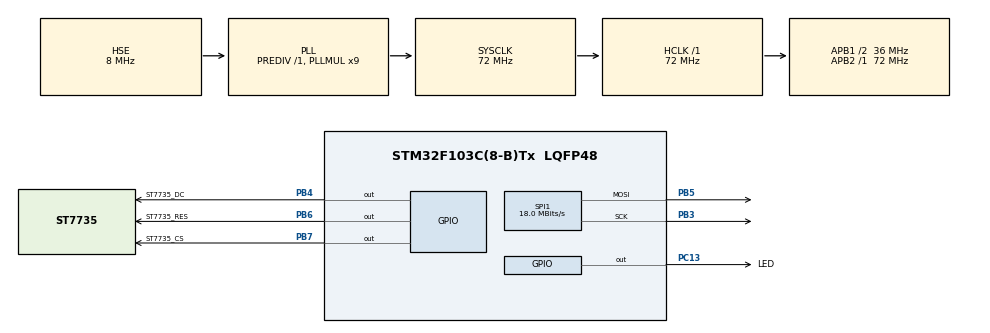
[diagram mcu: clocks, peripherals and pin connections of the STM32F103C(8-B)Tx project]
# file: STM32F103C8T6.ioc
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Mcu.Family=STM32F1
Mcu.Name=STM32F103C(8-B)Tx
Mcu.Package=LQFP48
NVIC.PriorityGroup=NVIC_PRIORITYGROUP_4
NVIC.TIM3_IRQn=true\:0\:0\:false\:false\:true\:true\:true\:true
PA13.Mode=Serial_Wire
PA13.Signal=SYS_JTMS-SWDIO
PA14.Mode=Serial_Wire
PA14.Signal=SYS_JTCK-SWCLK
PB3.Mode=TX_Only_Simplex_Unidirect_Master
PB3.Signal=SPI1_SCK
PB4.GPIO_Label=ST7735_DC
PB4.GPIO_Speed=GPIO_SPEED_FREQ_HIGH
PB4.Signal=GPIO_Output
PB5.Mode=TX_Only_Simplex_Unidirect_Master
PB5.Signal=SPI1_MOSI
PB6.GPIO_Label=ST7735_RES
PB6.GPIO_Speed=GPIO_SPEED_FREQ_HIGH
PB6.Signal=GPIO_Output
PB7.GPIO_Label=ST7735_CS
PB7.GPIO_Speed=GPIO_SPEED_FREQ_HIGH
PB7.Signal=GPIO_Output
PC13-TAMPER-RTC.GPIO_Label=LED
PC13-TAMPER-RTC.GPIO_Speed=GPIO_SPEED_FREQ_HIGH
PC13-TAMPER-RTC.PinState=GPIO_PIN_SET
PC13-TAMPER-RTC.Signal=GPIO_Output
PD0-OSC_IN.Mode=HSE-External-Oscillator
PD0-OSC_IN.Signal=RCC_OSC_IN
PD1-OSC_OUT.Mode=HSE-External-Oscillator
PD1-OSC_OUT.Signal=RCC_OSC_OUT
ProjectManager.HeapSize=0x200
ProjectManager.StackSize=0x400
ProjectManager.TargetToolchain=STM32CubeIDE
RCC.AHBFreq_Value=72000000
RCC.APB1CLKDivider=RCC_HCLK_DIV2
RCC.APB1Freq_Value=36000000
RCC.APB1TimFreq_Value=72000000
RCC.APB2Freq_Value=72000000
RCC.APB2TimFreq_Value=72000000
RCC.HCLKFreq_Value=72000000
RCC.PLLMUL=RCC_PLL_MUL9
RCC.PLLSourceVirtual=RCC_PLLSOURCE_HSE
RCC.SYSCLKFreq_VALUE=72000000
RCC.SYSCLKSource=RCC_SYSCLKSOURCE_PLLCLK
RCC.USBFreq_Value=72000000
SPI1.BaudRatePrescaler=SPI_BAUDRATEPRESCALER_4
SPI1.CalculateBaudRate=18.0 MBits/s
SPI1.Direction=SPI_DIRECTION_2LINES
SPI1.Mode=SPI_MODE_MASTER
SPI1.VirtualType=VM_MASTER
TIM3.AutoReloadPreload=TIM_AUTORELOAD_PRELOAD_ENABLE
TIM3.Period=4999
TIM3.Prescaler=7199
VP_TIM3_VS_ClockSourceINT.Mode=Internal
board=custom

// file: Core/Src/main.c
/* USER CODE BEGIN Header */
/**
  ******************************************************************************
  * @file           : main.c
  * @brief          : Main program body
  ******************************************************************************
  * @attention
  *
  * Copyright (c) 2024 STMicroelectronics.
  * All rights reserved.
  *
  * This software is licensed under terms that can be found in the LICENSE file
  * in the root directory of this software component.
  * If no LICENSE file comes with this software, it is provided AS-IS.
  *
  ******************************************************************************
  */
/* USER CODE END Header */
#include "main.h"
#include "spi.h"
#include "tim.h"
#include "gpio.h"

/* USER CODE BEGIN Includes */
#include "st7735.h"
#include "testimg.h"
/* USER CODE END Includes */

void SystemClock_Config(void);

int main(void)
{

  /* MCU Configuration--------------------------------------------------------*/

  /* Reset of all peripherals, Initializes the Flash interface and the Systick. */
  HAL_Init();

  /* Configure the system clock */
  SystemClock_Config();

  /* Initialize all configured peripherals */
  MX_GPIO_Init();
  MX_TIM3_Init();
  MX_SPI1_Init();
  /* USER CODE BEGIN 2 */
  /*Start TIM3*/
  HAL_TIM_Base_Start_IT(&htim3);
  ST7735_Init();
  ST7735_FillScreenFast(ST7735_WHITE);
  /* USER CODE END 2 */

  /* Infinite loop */
  while (1)
  {

    /* USER CODE BEGIN 3 */
    ST7735_FillScreenFast(ST7735_BLUE);
    HAL_Delay(1000);
    ST7735_FillScreenFast(ST7735_RED);
    HAL_Delay(1000);
    ST7735_FillScreenFast(ST7735_GREEN);
    HAL_Delay(1000);
    ST7735_FillScreenFast(ST7735_CYAN);
    HAL_Delay(1000);
    ST7735_FillScreenFast(ST7735_MAGENTA);
    HAL_Delay(1000);
    ST7735_FillScreenFast(ST7735_YELLOW);
    HAL_Delay(1000);
    ST7735_FillScreenFast(ST7735_WHITE);
    HAL_Delay(1000);
    ST7735_DrawImage(0, 0, 40, 40, (uint16_t*)gImage_img);
    ST7735_WriteString(0, 40, "Hello World", Font_11x18, ST7735_BLUE, ST7735_WHITE);
    HAL_Delay(1000);
  }
  /* USER CODE END 3 */
}

void SystemClock_Config(void)
{
  RCC_OscInitTypeDef RCC_OscInitStruct = {0};
  RCC_ClkInitTypeDef RCC_ClkInitStruct = {0};

  /** Initializes the RCC Oscillators according to the specified parameters
  * in the RCC_OscInitTypeDef structure.
  */
  RCC_OscInitStruct.OscillatorType = RCC_OSCILLATORTYPE_HSE;
  RCC_OscInitStruct.HSEState = RCC_HSE_ON;
  RCC_OscInitStruct.HSEPredivValue = RCC_HSE_PREDIV_DIV1;
  RCC_OscInitStruct.HSIState = RCC_HSI_ON;
  RCC_OscInitStruct.PLL.PLLState = RCC_PLL_ON;
  RCC_OscInitStruct.PLL.PLLSource = RCC_PLLSOURCE_HSE;
  RCC_OscInitStruct.PLL.PLLMUL = RCC_PLL_MUL9;
  if (HAL_RCC_OscConfig(&RCC_OscInitStruct) != HAL_OK)
  {
    Error_Handler();
  }

  /** Initializes the CPU, AHB and APB buses clocks
  */
  RCC_ClkInitStruct.ClockType = RCC_CLOCKTYPE_HCLK|RCC_CLOCKTYPE_SYSCLK
                              |RCC_CLOCKTYPE_PCLK1|RCC_CLOCKTYPE_PCLK2;
  RCC_ClkInitStruct.SYSCLKSource = RCC_SYSCLKSOURCE_PLLCLK;
  RCC_ClkInitStruct.AHBCLKDivider = RCC_SYSCLK_DIV1;
  RCC_ClkInitStruct.APB1CLKDivider = RCC_HCLK_DIV2;
  RCC_ClkInitStruct.APB2CLKDivider = RCC_HCLK_DIV1;

  if (HAL_RCC_ClockConfig(&RCC_ClkInitStruct, FLASH_LATENCY_2) != HAL_OK)
  {
    Error_Handler();
  }
}

void Error_Handler(void)
{
  __disable_irq();
  while (1)
  {
  }
}
